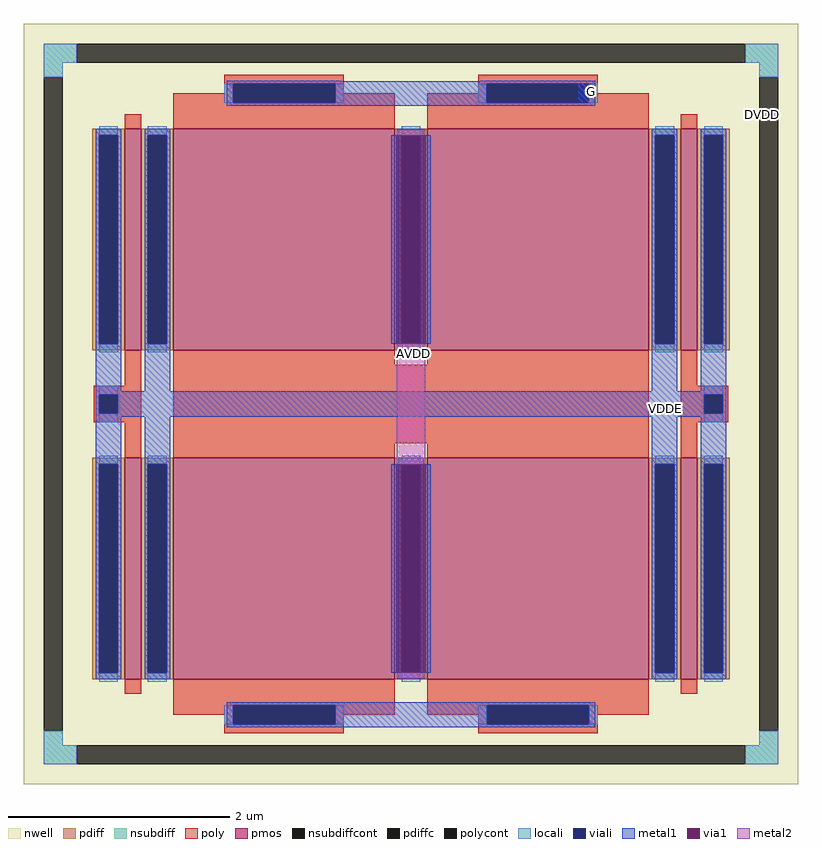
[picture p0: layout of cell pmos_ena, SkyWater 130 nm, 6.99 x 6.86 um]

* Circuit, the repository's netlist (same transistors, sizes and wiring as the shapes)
** sch_path: /home/gilang_fajrul/chipalooza/sky130_gff_ip__bgr_1.2v/magic/pmos_ena.sch
.subckt pmos_ena avdd G dvdd VDDE
*.PININFO G:B avdd:B VDDE:B dvdd:B
XM6 VDDE G avdd DVDD sky130_fd_pr__pfet_01v8 L=2 W=2 nf=1 m=4
XM1 VDDE VDDE VDDE DVDD sky130_fd_pr__pfet_01v8 L=0.15 W=2 nf=1 m=4
.ends
.end

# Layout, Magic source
magic
tech sky130A
magscale 1 2
<< nwell >>
rect -176 -521 1222 851
<< nsubdiff >>
rect -140 781 -80 815
rect 1126 781 1186 815
rect -140 755 -106 781
rect 1152 755 1186 781
rect -140 -451 -106 -425
rect 1152 -451 1186 -425
rect -140 -485 -80 -451
rect 1126 -485 1186 -451
<< nsubdiffcont >>
rect -80 781 1126 815
rect -140 -425 -106 755
rect 1152 -425 1186 755
rect -80 -485 1126 -451
<< poly >>
rect 6 198 36 236
rect -50 182 36 198
rect -50 148 -40 182
rect -6 148 36 182
rect -50 132 36 148
rect 6 94 36 132
rect 94 94 952 236
rect 1010 198 1040 236
rect 1010 182 1096 198
rect 1010 148 1052 182
rect 1086 148 1096 182
rect 1010 132 1096 148
rect 1010 94 1040 132
<< polycont >>
rect -40 148 -6 182
rect 1052 148 1086 182
<< locali >>
rect -140 781 -80 815
rect 1126 781 1186 815
rect -140 755 -106 781
rect 1152 755 1186 781
rect -40 182 -6 198
rect -40 132 -6 148
rect 1052 182 1086 198
rect 1052 132 1086 148
rect -140 -451 -106 -425
rect 1152 -451 1186 -425
rect -140 -485 -80 -451
rect 1126 -485 1186 -451
<< viali >>
rect -40 148 -6 182
rect 1052 148 1086 182
<< metal1 >>
rect 389 703 660 748
rect 824 703 856 748
rect 487 274 497 650
rect 549 274 559 650
rect -46 188 0 263
rect 42 188 88 269
rect 958 188 1004 267
rect 1046 188 1092 265
rect -46 182 1092 188
rect -46 148 -40 182
rect -6 148 1052 182
rect 1086 148 1092 182
rect -46 142 1092 148
rect -46 67 0 142
rect 42 63 88 142
rect 958 61 1004 142
rect 1046 65 1092 142
rect 487 -320 497 56
rect 549 -320 559 56
rect 390 -419 661 -373
<< via1 >>
rect 497 274 549 650
rect 497 -320 549 56
<< metal2 >>
rect 497 650 549 660
rect 497 56 549 274
rect 497 -330 549 -320
use sky130_fd_pr__pfet_01v8_2ZH9EN  sky130_fd_pr__pfet_01v8_2ZH9EN_0
transform 1 0 21 0 1 -132
box -109 -262 109 262
use sky130_fd_pr__pfet_01v8_2ZH9EN  sky130_fd_pr__pfet_01v8_2ZH9EN_1
transform 1 0 1025 0 1 -132
box -109 -262 109 262
use sky130_fd_pr__pfet_01v8_2ZH9EN  sky130_fd_pr__pfet_01v8_2ZH9EN_2
transform 1 0 1025 0 1 462
box -109 -262 109 262
use sky130_fd_pr__pfet_01v8_2ZH9EN  sky130_fd_pr__pfet_01v8_2ZH9EN_3
transform 1 0 21 0 1 462
box -109 -262 109 262
use sky130_fd_pr__pfet_01v8_9XC4R9  sky130_fd_pr__pfet_01v8_9XC4R9_0
transform 1 0 523 0 1 498
box -523 -298 523 264
use sky130_fd_pr__pfet_01v8_CVH45E  sky130_fd_pr__pfet_01v8_CVH45E_0
transform 1 0 523 0 1 -168
box -523 -264 523 298
<< labels >>
flabel metal1 982 156 982 156 0 FreeSans 160 0 0 0 VDDE
port 2 nsew
flabel metal2 528 257 528 257 0 FreeSans 160 0 0 0 AVDD
port 3 nsew
flabel metal1 848 730 848 730 0 FreeSans 160 0 0 0 G
port 0 nsew
flabel nsubdiffcont 1158 687 1158 687 0 FreeSans 160 0 0 0 DVDD
port 4 nsew
<< end >>

# cell sky130_fd_pr__pfet_01v8_2ZH9EN: kit device sky130_fd_pr__pfet_01v8, w 2 l 0.15 m 1 nf 1 diffcov 100 polycov 100 guard 0 glc 1 grc 1 gtc 1 gbc 1 tbcov 100 rlcov 100 topc 0 botc 0 poverlap 0 doverlap 1 lmin 0.15 wmin 0.42 compatible {sky130_fd_pr__pfet_01v8 sky130_fd_pr__pfet_01v8_lvt sky130_fd_pr__pfet_01v8_hvt sky130_fd_pr__pfet_g5v0d10v5} full_metal 0 viasrc 100 viadrn 100 viagate 100 viagb 0 viagr 0 viagl 0 viagt 0

# cell sky130_fd_pr__pfet_01v8_9XC4R9: kit device sky130_fd_pr__pfet_01v8, w 2 l 2 m 1 nf 2 diffcov 100 polycov 50 guard 0 glc 1 grc 1 gtc 1 gbc 1 tbcov 100 rlcov 100 topc 1 botc 0 poverlap 0 doverlap 1 lmin 0.15 wmin 0.42 compatible {sky130_fd_pr__pfet_01v8 sky130_fd_pr__pfet_01v8_lvt sky130_fd_pr__pfet_01v8_hvt sky130_fd_pr__pfet_g5v0d10v5} full_metal 1 viasrc 100 viadrn 100 viagate 50 viagb 0 viagr 0 viagl 0 viagt 0

# cell sky130_fd_pr__pfet_01v8_CVH45E: kit device sky130_fd_pr__pfet_01v8, w 2 l 2 m 1 nf 2 diffcov 100 polycov 50 guard 0 glc 1 grc 1 gtc 1 gbc 1 tbcov 100 rlcov 100 topc 0 botc 1 poverlap 0 doverlap 1 lmin 0.15 wmin 0.42 compatible {sky130_fd_pr__pfet_01v8 sky130_fd_pr__pfet_01v8_lvt sky130_fd_pr__pfet_01v8_hvt sky130_fd_pr__pfet_g5v0d10v5} full_metal 1 viasrc 100 viadrn 100 viagate 50 viagb 0 viagr 0 viagl 0 viagt 0
